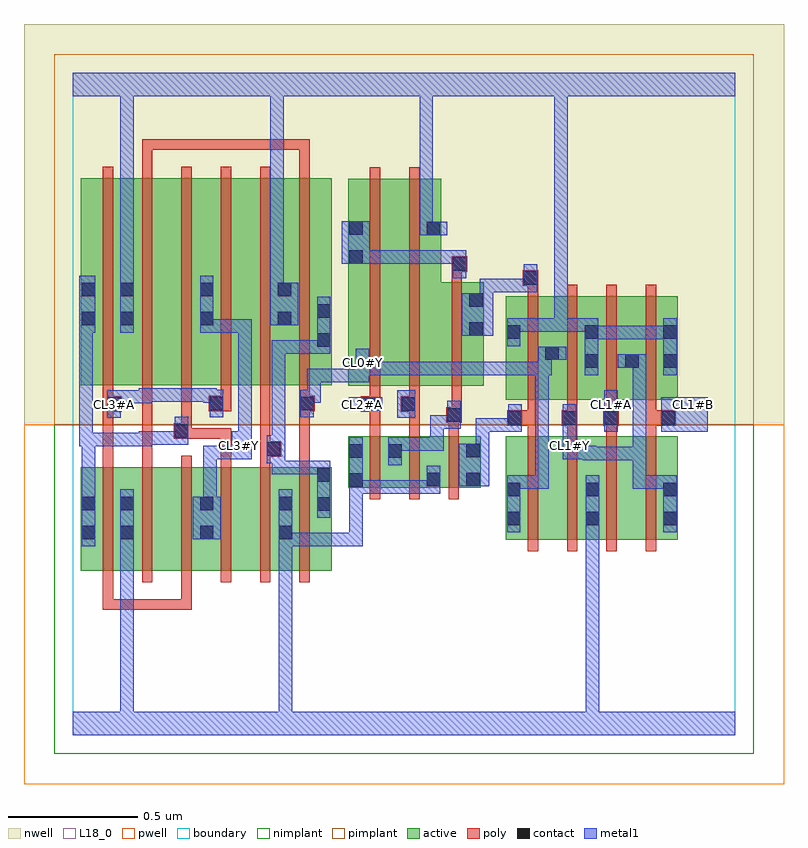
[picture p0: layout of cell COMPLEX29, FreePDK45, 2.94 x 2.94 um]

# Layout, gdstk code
import gdstk
lib = gdstk.Library(unit=1e-6, precision=1e-09)
def R(c, l, rs):  # rectangles x0, y0, x1, y1
    for r in rs: c.add(gdstk.rectangle(r[:2], r[2:], *l))
def A(c, l, x, y, w, h, nx, ny, dx, dy):  # array of equal rectangles
    R(c, l, [(x+i*dx, y+j*dy, x+i*dx+w, y+j*dy+h) for i in range(nx) for j in range(ny)])
active = (1, 0)
pwell = (2, 0)
nwell = (3, 0)
nimplant = (4, 0)
pimplant = (5, 0)
poly = (9, 0)
contact = (10, 0)
metal1 = (11, 0)
L18_0 = (18, 0)
boundary = (235, 0)

complex29 = lib.new_cell('COMPLEX29')
R(complex29, active, [(0.032,0.636,0.092,1.036), (0.032,0.636,0.24,1.036), (0.18,0.636,0.364,1.036), (0.18,0.636,0.24,0.926), (0.364,0.636,0.548,1.036), (0.488,0.636,0.668,1.036), (0.488,0.636,0.548,0.926), (0.668,0.636,0.852,1.036), (0.792,0.636,1,1.036), (0.792,0.636,0.852,0.926), (0.94,0.636,1,1.036), (1.674,0.756,1.734,1.156), (1.674,0.756,1.854,1.156), (1.854,0.756,2.038,1.156), (1.978,0.756,2.038,1.156), (1.978,0.756,2.158,1.156), (2.158,0.756,2.338,1.156), (2.278,0.756,2.338,1.156), (1.064,0.956,1.124,1.156), (1.064,0.956,1.276,1.156), (1.216,0.956,1.276,1.156), (1.216,0.956,1.424,1.156), (1.364,0.956,1.424,1.156), (1.364,0.956,1.576,1.156), (1.516,0.956,1.576,1.156), (1.674,1.296,1.734,1.696), (1.674,1.296,1.882,1.696), (1.822,1.296,2.034,1.696), (1.974,1.296,2.19,1.696), (2.13,1.296,2.338,1.696), (2.278,1.296,2.338,1.696), (1.064,1.35,1.244,2.15), (1.064,1.35,1.124,2.15), (1.244,1.35,1.424,2.15), (1.364,1.35,1.588,1.75), (1.528,1.35,1.588,1.75), (0.032,1.352,0.092,2.044), (0.032,1.352,0.24,2.152), (0.18,1.352,0.364,2.152), (0.364,1.352,0.548,2.152), (0.488,1.352,0.668,2.152), (0.668,1.352,0.848,2.152), (0.788,1.352,1,2.152), (0.94,1.352,1,2.044), (1.974,1.416,2.034,1.696), (2.13,1.416,2.19,1.644), (1.822,1.446,1.882,1.644), (0.18,1.58,0.24,2.044), (0.488,1.58,0.548,2.044), (0.788,1.58,0.848,2.044), (1.364,1.644,1.424,1.988)])
R(complex29, pwell, [(-0.188,-0.188,2.748,1.2)])
R(complex29, nwell, [(-0.188,1.2,2.748,2.748)])
R(complex29, nimplant, [(-0.072,-0.072,2.632,1.2)])
R(complex29, pimplant, [(-0.072,1.2,2.632,2.632)])
A(complex29, poly, 0.116, 0.592, 0.04, 0.488, 6, 1, 0.152, 0)
A(complex29, poly, 1.758, 0.712, 0.04, 0.488, 4, 2, 0.152, 0.54)
A(complex29, poly, 1.148, 0.912, 0.04, 0.288, 3, 1, 0.152, 0)
A(complex29, poly, 1.758, 1.16, 0.04, 0.076, 4, 2, 0.152, 0.056)
A(complex29, poly, 0.268, 1.272, 0.04, 0.076, 3, 1, 0.304, 0)
A(complex29, poly, 0.116, 1.308, 0.04, 0.888, 6, 1, 0.152, 0)
R(complex29, poly, [(0.116,0.486,0.156,0.526), (0.116,0.486,0.156,0.526), (0.116,0.486,0.156,0.526), (0.116,0.486,0.156,0.632), (0.116,0.486,0.324,0.526), (0.284,0.486,0.324,0.526), (0.284,0.486,0.46,0.526), (0.42,0.486,0.46,0.526), (0.42,0.486,0.46,0.526), (0.42,0.486,0.46,0.526), (0.42,0.486,0.46,0.632), (0.116,1.04,0.156,1.29), (0.268,1.04,0.308,1.312), (0.572,1.04,0.612,1.186), (0.724,1.04,0.764,1.116), (0.876,1.04,0.916,1.292), (0.724,1.076,0.806,1.136), (0.724,1.096,0.764,1.136), (0.724,1.096,0.764,1.136), (0.724,1.096,0.764,1.348), (0.39,1.146,0.46,1.206), (0.42,1.146,0.612,1.186), (0.572,1.146,0.612,1.186), (0.572,1.146,0.612,1.186), (0.572,1.146,0.612,1.186), (1.148,1.16,1.188,1.29), (1.3,1.16,1.34,1.29), (1.452,1.16,1.492,1.248), (0.42,1.166,0.46,1.206), (0.42,1.166,0.46,1.206), (0.42,1.166,0.46,1.348), (1.678,1.196,1.798,1.256), (1.89,1.196,1.95,1.256), (2.05,1.196,2.11,1.256), (2.062,1.196,2.102,1.236), (2.062,1.196,2.102,1.236), (2.214,1.196,2.33,1.256), (1.444,1.208,1.504,1.268), (1.758,1.216,1.798,1.256), (1.758,1.216,1.798,1.256), (1.91,1.216,1.95,1.256), (1.91,1.216,1.95,1.256), (2.214,1.216,2.254,1.256), (2.214,1.216,2.254,1.256), (1.464,1.228,1.504,1.268), (1.464,1.228,1.504,1.268), (1.464,1.228,1.504,1.346), (0.116,1.25,0.156,1.29), (0.116,1.25,0.156,1.29), (0.116,1.25,0.19,1.31), (1.112,1.25,1.188,1.31), (1.268,1.25,1.34,1.31), (0.526,1.252,0.612,1.312), (0.876,1.252,0.916,1.292), (0.876,1.252,0.916,1.292), (0.876,1.252,0.936,1.312), (0.116,1.27,0.156,1.348), (1.148,1.27,1.188,1.346), (1.148,1.27,1.188,1.31), (1.148,1.27,1.188,1.31), (1.3,1.27,1.34,1.346), (1.3,1.27,1.34,1.31), (1.3,1.27,1.34,1.31), (0.268,1.272,0.308,1.312), (0.268,1.272,0.308,1.312), (0.268,1.272,0.308,1.312), (1.148,1.306,1.188,2.194), (1.3,1.306,1.34,2.194), (1.464,1.306,1.504,1.794), (1.758,1.7,1.798,1.776), (1.738,1.736,1.798,1.796), (1.464,1.754,1.504,1.83), (1.464,1.79,1.524,1.85), (0.268,2.156,0.308,2.302), (0.876,2.156,0.916,2.302), (0.268,2.262,0.308,2.302), (0.268,2.262,0.43,2.302), (0.39,2.262,0.43,2.302), (0.39,2.262,0.43,2.302), (0.39,2.262,0.43,2.302), (0.39,2.262,0.658,2.302), (0.618,2.262,0.658,2.302), (0.618,2.262,0.658,2.302), (0.618,2.262,0.658,2.302), (0.618,2.262,0.81,2.302), (0.77,2.262,0.81,2.302), (0.77,2.262,0.81,2.302), (0.77,2.262,0.81,2.302), (0.77,2.262,0.916,2.302), (0.876,2.262,0.916,2.302), (0.876,2.262,0.916,2.302), (0.876,2.262,0.916,2.302)])
R(complex29, contact, [(0.036,0.758,0.088,0.81), (0.184,0.758,0.236,0.81), (0.492,0.758,0.544,0.81), (0.796,0.758,0.848,0.81), (1.678,0.812,1.73,0.864), (1.982,0.812,2.034,0.864), (2.282,0.812,2.334,0.864), (0.944,0.868,0.996,0.92), (0.036,0.87,0.088,0.922), (0.184,0.87,0.236,0.922), (0.492,0.87,0.544,0.922), (0.796,0.87,0.848,0.922), (1.678,0.924,1.73,0.976), (1.982,0.924,2.034,0.976), (2.282,0.924,2.334,0.976), (1.068,0.96,1.12,1.012), (1.368,0.962,1.42,1.014), (1.52,0.962,1.572,1.014), (0.944,0.98,0.996,1.032), (1.068,1.072,1.12,1.124), (1.22,1.072,1.272,1.124), (1.52,1.074,1.572,1.126), (0.75,1.08,0.802,1.132), (0.394,1.15,0.446,1.202), (1.682,1.2,1.734,1.252), (1.894,1.2,1.946,1.252), (2.054,1.2,2.106,1.252), (2.274,1.2,2.326,1.252), (1.448,1.212,1.5,1.264), (0.134,1.254,0.186,1.306), (1.116,1.254,1.168,1.306), (1.272,1.254,1.324,1.306), (0.53,1.256,0.582,1.308), (0.88,1.256,0.932,1.308), (1.978,1.42,2.03,1.472), (2.134,1.42,2.186,1.472), (2.282,1.42,2.334,1.472), (1.826,1.45,1.878,1.502), (0.944,1.502,0.996,1.554), (1.678,1.532,1.73,1.584), (1.978,1.532,2.03,1.584), (2.282,1.532,2.334,1.584), (1.532,1.544,1.584,1.596), (0.036,1.584,0.088,1.636), (0.184,1.584,0.236,1.636), (0.492,1.584,0.544,1.636), (0.792,1.584,0.844,1.636), (0.944,1.614,0.996,1.666), (1.532,1.656,1.584,1.708), (0.036,1.696,0.088,1.748), (0.184,1.696,0.236,1.748), (0.492,1.696,0.544,1.748), (0.792,1.696,0.844,1.748), (1.742,1.74,1.794,1.792), (1.468,1.794,1.52,1.846), (1.068,1.822,1.12,1.874), (1.368,1.932,1.42,1.984), (1.068,1.934,1.12,1.986)])
A(complex29, metal1, 0.036, 1.116, 0.052, 0.052, 3, 1, 0.11, 0)
R(complex29, metal1, [(0,0,2.56,0.092), (0.184,0.04,0.236,0.092), (0.184,0.04,0.236,0.092), (0.184,0.04,0.236,0.092), (0.184,0.04,0.236,0.092), (0.184,0.04,0.236,0.092), (0.184,0.04,0.236,0.092), (0.184,0.04,0.236,0.092), (0.184,0.04,0.236,0.092), (0.184,0.04,0.236,0.092), (0.184,0.04,0.236,0.092), (0.184,0.04,0.236,0.092), (0.184,0.04,0.236,0.092), (0.184,0.04,0.236,0.782), (0.796,0.04,0.848,0.092), (0.796,0.04,0.848,0.092), (0.796,0.04,0.848,0.092), (0.796,0.04,0.848,0.092), (0.796,0.04,0.848,0.092), (0.796,0.04,0.848,0.092), (0.796,0.04,0.848,0.092), (0.796,0.04,0.848,0.092), (0.796,0.04,0.848,0.092), (0.796,0.04,0.848,0.092), (0.796,0.04,0.848,0.092), (0.796,0.04,0.848,0.092), (0.796,0.04,0.848,0.782), (1.982,0.04,2.034,0.092), (1.982,0.04,2.034,0.092), (1.982,0.04,2.034,0.092), (1.982,0.04,2.034,0.092), (1.982,0.04,2.034,0.092), (1.982,0.04,2.034,0.092), (1.982,0.04,2.034,0.092), (1.982,0.04,2.034,0.092), (1.982,0.04,2.034,0.836), (0.036,0.73,0.088,0.95), (0.184,0.73,0.236,0.95), (0.796,0.73,0.848,0.95), (0.796,0.73,0.958,0.782), (0.906,0.73,0.958,0.782), (0.906,0.73,0.958,0.782), (0.906,0.73,0.958,0.782), (0.906,0.73,1.12,0.782), (1.068,0.73,1.12,0.782), (1.068,0.73,1.12,0.782), (1.068,0.73,1.12,0.782), (1.068,0.73,1.12,0.984), (0.464,0.758,0.572,0.922), (1.678,0.784,1.73,1.004), (1.982,0.784,2.034,0.836), (1.982,0.784,2.034,0.836), (1.982,0.784,2.034,0.836), (1.982,0.784,2.034,0.836), (1.982,0.784,2.034,1.004), (2.282,0.784,2.334,1.004), (0.944,0.84,0.996,1.06), (0.504,0.87,0.556,1.118), (0.036,0.898,0.088,1.168), (1.068,0.932,1.12,1.152), (1.068,0.934,1.12,0.986), (1.068,0.934,1.12,0.986), (1.068,0.934,1.282,0.986), (1.23,0.934,1.282,0.986), (1.23,0.934,1.282,0.986), (1.23,0.934,1.282,0.986), (1.23,0.934,1.42,0.986), (1.368,0.934,1.42,1.042), (1.678,0.952,1.74,1.004), (1.688,0.952,1.74,1.004), (1.688,0.952,1.84,1.004), (1.788,0.952,1.84,1.004), (1.788,0.952,1.84,1.004), (1.788,0.952,1.84,1.004), (1.788,0.952,1.84,1.444), (2.164,0.952,2.216,1.004), (2.164,0.952,2.334,1.004), (2.164,0.952,2.216,1.114), (2.282,0.952,2.334,1.004), (2.282,0.952,2.334,1.004), (1.492,0.962,1.61,1.126), (0.77,1.008,0.822,1.06), (0.77,1.008,0.982,1.06), (0.77,1.008,0.822,1.16), (0.93,1.008,0.982,1.06), (0.93,1.008,0.996,1.06), (1.22,1.044,1.272,1.152), (0.75,1.052,0.802,1.16), (1.97,1.062,2.216,1.114), (1.97,1.062,2.022,1.118), (2.164,1.062,2.216,1.114), (2.164,1.062,2.216,1.114), (2.164,1.062,2.216,1.114), (2.164,1.062,2.216,1.114), (2.164,1.062,2.216,1.114), (2.164,1.062,2.216,1.472), (0.504,1.066,0.556,1.118), (0.504,1.066,0.556,1.118), (0.504,1.066,0.556,1.118), (0.504,1.066,0.666,1.118), (0.614,1.066,0.692,1.174), (1.894,1.066,2.022,1.118), (1.894,1.066,1.946,1.28), (1.558,1.074,1.61,1.224), (1.22,1.1,1.272,1.152), (1.22,1.1,1.272,1.152), (1.22,1.1,1.434,1.152), (1.382,1.1,1.434,1.152), (1.382,1.1,1.434,1.236), (0.75,1.108,0.822,1.16), (0.77,1.108,0.822,1.16), (0.77,1.108,0.822,1.526), (0.026,1.116,0.078,1.608), (0.026,1.116,0.088,1.168), (0.036,1.116,0.088,1.168), (0.036,1.116,0.198,1.168), (0.146,1.116,0.308,1.168), (0.256,1.116,0.308,1.168), (0.256,1.116,0.308,1.174), (0.256,1.122,0.446,1.174), (0.394,1.122,0.446,1.23), (0.64,1.122,0.692,1.608), (1.558,1.172,1.61,1.224), (1.558,1.172,1.73,1.224), (1.678,1.172,1.73,1.224), (1.678,1.172,1.734,1.224), (1.682,1.172,1.734,1.28), (2.054,1.172,2.106,1.334), (2.274,1.172,2.454,1.306), (1.382,1.184,1.434,1.236), (1.382,1.184,1.5,1.236), (1.448,1.184,1.5,1.292), (0.134,1.226,0.186,1.334), (1.254,1.226,1.324,1.334), (0.53,1.228,0.582,1.336), (0.88,1.228,0.932,1.336), (1.066,1.254,1.196,1.306), (0.134,1.282,0.198,1.334), (0.146,1.282,0.198,1.334), (0.146,1.282,0.308,1.334), (0.256,1.282,0.308,1.334), (0.256,1.282,0.308,1.334), (0.256,1.282,0.308,1.34), (0.504,1.284,0.556,1.34), (0.504,1.284,0.582,1.336), (0.88,1.284,0.958,1.336), (0.906,1.284,0.958,1.416), (0.256,1.288,0.418,1.34), (0.366,1.288,0.418,1.34), (0.366,1.288,0.556,1.34), (0.906,1.364,1.146,1.416), (1.094,1.364,1.146,1.494), (1.094,1.392,1.146,1.444), (1.094,1.392,1.146,1.444), (1.094,1.392,1.282,1.444), (1.23,1.392,1.282,1.444), (1.23,1.392,1.282,1.444), (1.23,1.392,1.282,1.444), (1.23,1.392,1.434,1.444), (1.382,1.392,1.434,1.444), (1.382,1.392,1.434,1.444), (1.382,1.392,1.434,1.444), (1.382,1.392,1.622,1.444), (1.57,1.392,1.622,1.444), (1.57,1.392,1.63,1.444), (1.578,1.392,1.63,1.444), (1.578,1.392,1.836,1.444), (1.784,1.392,1.836,1.444), (1.784,1.392,1.84,1.444), (1.788,1.392,1.85,1.444), (1.798,1.392,1.85,1.502), (1.978,1.392,2.03,1.612), (2.282,1.392,2.334,1.612), (2.106,1.42,2.216,1.472), (1.798,1.45,1.906,1.502), (0.77,1.474,0.822,1.526), (0.77,1.474,0.822,1.526), (0.77,1.474,0.822,1.526), (0.77,1.474,0.982,1.526), (0.93,1.474,0.982,1.526), (0.93,1.474,0.996,1.526), (0.944,1.474,0.996,1.694), (1.678,1.504,1.73,1.612), (1.978,1.53,2.14,1.582), (2.088,1.53,2.14,1.582), (2.088,1.53,2.14,1.582), (2.088,1.53,2.14,1.582), (2.088,1.53,2.334,1.582), (2.282,1.53,2.334,1.582), (2.282,1.53,2.334,1.582), (1.504,1.544,1.624,1.708), (0.026,1.556,0.078,1.608), (0.026,1.556,0.078,1.608), (0.026,1.556,0.088,1.776), (0.184,1.556,0.236,1.776), (0.492,1.556,0.544,1.776), (0.492,1.556,0.692,1.608), (0.64,1.556,0.692,1.608), (0.64,1.556,0.692,1.608), (0.64,1.556,0.692,1.608), (0.64,1.556,0.692,1.608), (0.64,1.556,0.692,1.608), (1.678,1.56,1.75,1.612), (1.698,1.56,1.75,1.612), (1.698,1.56,1.912,1.612), (1.86,1.56,1.912,1.612), (1.86,1.56,1.912,1.612), (1.86,1.56,1.912,1.612), (1.86,1.56,1.912,1.612), (1.86,1.56,1.912,1.612), (1.86,1.56,1.912,1.612), (1.86,1.56,1.912,1.612), (1.86,1.56,1.912,1.612), (1.86,1.56,1.912,1.612), (1.86,1.56,1.996,1.612), (1.86,1.56,1.912,2.52), (1.944,1.56,1.996,1.612), (1.944,1.56,2.03,1.612), (0.764,1.584,0.872,1.748), (1.572,1.656,1.624,1.764), (0.764,1.696,0.816,1.748), (0.764,1.696,0.816,1.748), (0.764,1.696,0.816,2.52), (1.572,1.712,1.624,1.764), (1.572,1.712,1.63,1.764), (1.578,1.712,1.63,1.764), (1.578,1.712,1.794,1.764), (1.742,1.712,1.794,1.82), (0.184,1.724,0.236,1.776), (0.184,1.724,0.236,1.776), (0.184,1.724,0.236,1.776), (0.184,1.724,0.236,1.776), (0.184,1.724,0.236,1.776), (0.184,1.724,0.236,1.776), (0.184,1.724,0.236,1.776), (0.184,1.724,0.236,1.776), (0.184,1.724,0.236,2.52), (1.468,1.766,1.52,1.874), (1.04,1.822,1.148,1.986), (1.096,1.822,1.148,1.874), (1.096,1.822,1.148,1.874), (1.096,1.822,1.258,1.874), (1.206,1.822,1.258,1.874), (1.206,1.822,1.258,1.874), (1.206,1.822,1.258,1.874), (1.206,1.822,1.392,1.874), (1.34,1.822,1.392,1.874), (1.34,1.822,1.52,1.874), (1.34,1.932,1.392,1.984), (1.34,1.932,1.392,1.984), (1.34,1.932,1.392,1.984), (1.34,1.932,1.392,1.984), (1.34,1.932,1.392,1.984), (1.34,1.932,1.392,1.984), (1.34,1.932,1.392,1.984), (1.34,1.932,1.392,1.984), (1.34,1.932,1.448,1.984), (1.34,1.932,1.392,2.52), (0,2.468,2.56,2.56), (0.764,2.468,0.816,2.52), (0.764,2.468,0.816,2.52), (0.764,2.468,0.816,2.52), (0.764,2.468,0.816,2.52), (0.764,2.468,0.816,2.52), (0.764,2.468,0.816,2.52), (1.86,2.468,1.912,2.52), (1.86,2.468,1.912,2.52), (1.86,2.468,1.912,2.52), (1.86,2.468,1.912,2.52), (1.86,2.468,1.912,2.52), (1.86,2.468,1.912,2.52), (1.86,2.468,1.912,2.52), (1.86,2.468,1.912,2.52)])
R(complex29, L18_0, [(0,0,2.56,0.092), (0.184,0.04,0.236,0.092), (0.184,0.04,0.236,0.092), (0.184,0.04,0.236,0.092), (0.184,0.04,0.236,0.092), (0.184,0.04,0.236,0.092), (0.184,0.04,0.236,0.092), (0.184,0.04,0.236,0.092), (0.184,0.04,0.236,0.092), (0.184,0.04,0.236,0.092), (0.184,0.04,0.236,0.092), (0.184,0.04,0.236,0.092), (0.184,0.04,0.236,0.092), (0.184,0.04,0.236,0.782), (0.796,0.04,0.848,0.092), (0.796,0.04,0.848,0.092), (0.796,0.04,0.848,0.092), (0.796,0.04,0.848,0.092), (0.796,0.04,0.848,0.092), (0.796,0.04,0.848,0.092), (0.796,0.04,0.848,0.092), (0.796,0.04,0.848,0.092), (0.796,0.04,0.848,0.092), (0.796,0.04,0.848,0.092), (0.796,0.04,0.848,0.092), (0.796,0.04,0.848,0.092), (0.796,0.04,0.848,0.782), (1.982,0.04,2.034,0.092), (1.982,0.04,2.034,0.092), (1.982,0.04,2.034,0.092), (1.982,0.04,2.034,0.092), (1.982,0.04,2.034,0.092), (1.982,0.04,2.034,0.092), (1.982,0.04,2.034,0.092), (1.982,0.04,2.034,0.092), (1.982,0.04,2.034,0.836), (0.184,0.73,0.236,0.95), (0.796,0.73,0.848,0.95), (0.796,0.73,0.958,0.782), (0.906,0.73,0.958,0.782), (0.906,0.73,0.958,0.782), (0.906,0.73,0.958,0.782), (0.906,0.73,1.12,0.782), (1.068,0.73,1.12,0.782), (1.068,0.73,1.12,0.782), (1.068,0.73,1.12,0.782), (1.068,0.73,1.12,0.984), (0.464,0.758,0.572,0.922), (1.678,0.784,1.73,1.004), (1.982,0.784,2.034,0.836), (1.982,0.784,2.034,0.836), (1.982,0.784,2.034,0.836), (1.982,0.784,2.034,0.836), (1.982,0.784,2.034,1.004), (2.282,0.784,2.334,1.004), (0.504,0.87,0.556,1.118), (1.068,0.932,1.12,1.152), (1.068,0.934,1.12,0.986), (1.068,0.934,1.12,0.986), (1.068,0.934,1.282,0.986), (1.23,0.934,1.282,0.986), (1.23,0.934,1.282,0.986), (1.23,0.934,1.282,0.986), (1.23,0.934,1.42,0.986), (1.368,0.934,1.42,1.042), (1.678,0.952,1.74,1.004), (1.688,0.952,1.74,1.004), (1.688,0.952,1.84,1.004), (1.788,0.952,1.84,1.004), (1.788,0.952,1.84,1.004), (1.788,0.952,1.84,1.004), (1.788,0.952,1.84,1.444), (2.164,0.952,2.216,1.004), (2.164,0.952,2.216,1.114), (2.164,0.952,2.334,1.004), (2.282,0.952,2.334,1.004), (2.282,0.952,2.334,1.004), (1.97,1.062,2.022,1.118), (1.97,1.062,2.216,1.114), (2.164,1.062,2.216,1.114), (2.164,1.062,2.216,1.114), (2.164,1.062,2.216,1.114), (2.164,1.062,2.216,1.114), (2.164,1.062,2.216,1.114), (2.164,1.062,2.216,1.472), (0.504,1.066,0.556,1.118), (0.504,1.066,0.556,1.118), (0.504,1.066,0.556,1.118), (0.504,1.066,0.666,1.118), (0.614,1.066,0.692,1.174), (1.894,1.066,1.946,1.28), (1.894,1.066,2.022,1.118), (0.614,1.094,0.666,1.146), (1.894,1.094,1.946,1.146), (0.64,1.122,0.692,1.608), (2.054,1.172,2.106,1.334), (2.274,1.172,2.454,1.306), (0.134,1.226,0.186,1.334), (1.254,1.226,1.324,1.334), (0.53,1.228,0.582,1.336), (0.88,1.228,0.932,1.336), (0.134,1.254,0.186,1.306), (1.066,1.254,1.196,1.306), (1.094,1.254,1.146,1.306), (1.254,1.254,1.306,1.306), (2.054,1.254,2.106,1.306), (2.374,1.254,2.426,1.306), (0.134,1.282,0.198,1.334), (0.146,1.282,0.198,1.334), (0.146,1.282,0.308,1.334), (0.256,1.282,0.308,1.334), (0.256,1.282,0.308,1.334), (0.256,1.282,0.308,1.34), (0.504,1.284,0.556,1.34), (0.504,1.284,0.582,1.336), (0.88,1.284,0.958,1.336), (0.906,1.284,0.958,1.416), (0.256,1.288,0.418,1.34), (0.366,1.288,0.418,1.34), (0.366,1.288,0.556,1.34), (0.906,1.364,1.146,1.416), (1.094,1.364,1.146,1.494), (1.094,1.392,1.146,1.444), (1.094,1.392,1.146,1.444), (1.094,1.392,1.282,1.444), (1.23,1.392,1.282,1.444), (1.23,1.392,1.282,1.444), (1.23,1.392,1.282,1.444), (1.23,1.392,1.434,1.444), (1.382,1.392,1.434,1.444), (1.382,1.392,1.434,1.444), (1.382,1.392,1.434,1.444), (1.382,1.392,1.622,1.444), (1.57,1.392,1.622,1.444), (1.57,1.392,1.63,1.444), (1.578,1.392,1.63,1.444), (1.578,1.392,1.836,1.444), (1.784,1.392,1.836,1.444), (1.784,1.392,1.84,1.444), (1.788,1.392,1.85,1.444), (1.798,1.392,1.85,1.502), (1.978,1.392,2.03,1.612), (2.282,1.392,2.334,1.612), (1.094,1.414,1.146,1.466), (2.106,1.42,2.216,1.472), (1.798,1.45,1.906,1.502), (1.678,1.504,1.73,1.612), (1.978,1.53,2.14,1.582), (2.088,1.53,2.14,1.582), (2.088,1.53,2.14,1.582), (2.088,1.53,2.14,1.582), (2.088,1.53,2.334,1.582), (2.282,1.53,2.334,1.582), (2.282,1.53,2.334,1.582), (0.184,1.556,0.236,1.776), (0.492,1.556,0.544,1.776), (0.492,1.556,0.692,1.608), (0.64,1.556,0.692,1.608), (0.64,1.556,0.692,1.608), (0.64,1.556,0.692,1.608), (0.64,1.556,0.692,1.608), (0.64,1.556,0.692,1.608), (1.678,1.56,1.75,1.612), (1.698,1.56,1.75,1.612), (1.698,1.56,1.912,1.612), (1.86,1.56,1.912,1.612), (1.86,1.56,1.912,1.612), (1.86,1.56,1.912,1.612), (1.86,1.56,1.912,1.612), (1.86,1.56,1.912,1.612), (1.86,1.56,1.912,1.612), (1.86,1.56,1.912,1.612), (1.86,1.56,1.912,1.612), (1.86,1.56,1.912,1.612), (1.86,1.56,1.912,2.52), (1.86,1.56,1.996,1.612), (1.944,1.56,1.996,1.612), (1.944,1.56,2.03,1.612), (0.764,1.584,0.872,1.748), (0.764,1.696,0.816,1.748), (0.764,1.696,0.816,1.748), (0.764,1.696,0.816,2.52), (0.184,1.724,0.236,1.776), (0.184,1.724,0.236,1.776), (0.184,1.724,0.236,1.776), (0.184,1.724,0.236,1.776), (0.184,1.724,0.236,1.776), (0.184,1.724,0.236,1.776), (0.184,1.724,0.236,1.776), (0.184,1.724,0.236,1.776), (0.184,1.724,0.236,2.52), (1.34,1.932,1.392,1.984), (1.34,1.932,1.392,1.984), (1.34,1.932,1.392,1.984), (1.34,1.932,1.392,1.984), (1.34,1.932,1.392,1.984), (1.34,1.932,1.392,1.984), (1.34,1.932,1.392,1.984), (1.34,1.932,1.392,1.984), (1.34,1.932,1.448,1.984), (1.34,1.932,1.392,2.52), (0,2.468,2.56,2.56), (0.764,2.468,0.816,2.52), (0.764,2.468,0.816,2.52), (0.764,2.468,0.816,2.52), (0.764,2.468,0.816,2.52), (0.764,2.468,0.816,2.52), (0.764,2.468,0.816,2.52), (1.86,2.468,1.912,2.52), (1.86,2.468,1.912,2.52), (1.86,2.468,1.912,2.52), (1.86,2.468,1.912,2.52), (1.86,2.468,1.912,2.52), (1.86,2.468,1.912,2.52), (1.86,2.468,1.912,2.52), (1.86,2.468,1.912,2.52)])
R(complex29, boundary, [(0,0,2.56,2.56)])
complex29.add(gdstk.Label('CL0#Y', (1.12,1.44), layer=11, texttype=0))
complex29.add(gdstk.Label('CL1#A', (2.08,1.28), layer=11, texttype=0))
complex29.add(gdstk.Label('CL1#B', (2.4,1.28), layer=11, texttype=0))
complex29.add(gdstk.Label('CL1#Y', (1.92,1.12), layer=11, texttype=0))
complex29.add(gdstk.Label('CL2#A', (1.12,1.28), layer=11, texttype=0))
complex29.add(gdstk.Label('CL2#B', (1.28,1.28), layer=11, texttype=0))
complex29.add(gdstk.Label('CL3#A', (0.16,1.28), layer=11, texttype=0))
complex29.add(gdstk.Label('CL3#Y', (0.64,1.12), layer=11, texttype=0))

lib.write_gds('COMPLEX29.gds')
